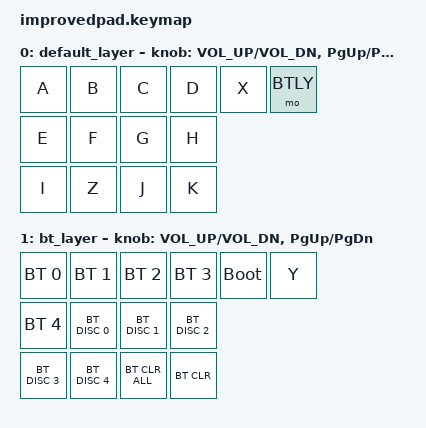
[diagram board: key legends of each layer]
#include <behaviors.dtsi>
#include <dt-bindings/zmk/keys.h>
#include <dt-bindings/zmk/bt.h>

#define DEFAULT 0
#define BTLY 1

/ {
    keymap {
        compatible = "zmk,keymap";

        default_layer {
        // -------------------------------------------------------------------------------------------------------------------------
        // |    A    |    B    |    C    |    D    |    X    |    bt   |
        // |    E    |    F    |    G    |    H
        // |    I    |    Z    |    J    |    K
        // -------------------------------------------------------------------------------------------------------------------------
            bindings = <
                &kp A    &kp B    &kp C    &kp D     &kp X     &mo BTLY
                &kp E    &kp F    &kp G    &kp H
                &kp I    &kp Z    &kp J    &kp K
            >;

            sensor-bindings = <&inc_dec_kp C_VOL_UP C_VOL_DN &inc_dec_kp PG_UP PG_DN>;
        };

        bt_layer {
        // -------------------------------------------------------------------------------------------------------------------------
        // |    SEL0    |    SEL1    |    SEL2    |    SEL3    |    BOOT    |    Y    |
        // |    SEL4    |    DC0     |    DC1     |    DC2
        // |    DC3     |    DC4     |    CLRALL  |    CLR
        // -------------------------------------------------------------------------------------------------------------------------
            bindings = <
                &bt BT_SEL 0    &bt BT_SEL 1    &bt BT_SEL 2    &bt BT_SEL 3     &bootloader     &kp Y
                &bt BT_SEL 4    &bt BT_DISC 0   &bt BT_DISC 1    &bt BT_DISC 2
                &bt BT_DISC 3    &bt BT_DISC 4     &bt BT_CLR_ALL    &bt BT_CLR
            >;

            sensor-bindings = <&inc_dec_kp C_VOL_UP C_VOL_DN &inc_dec_kp PG_UP PG_DN>;
        };
    };
};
